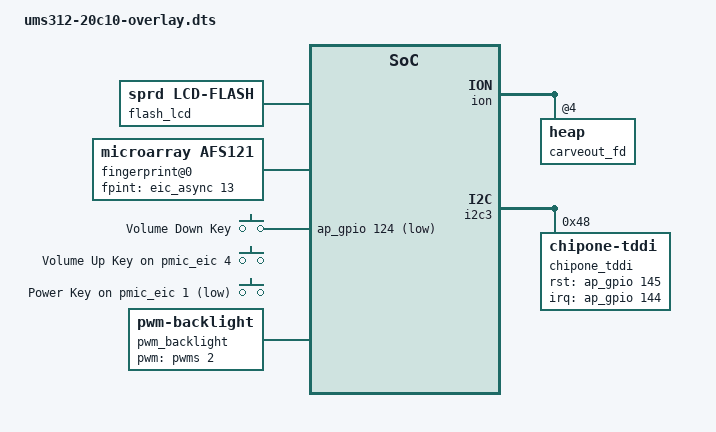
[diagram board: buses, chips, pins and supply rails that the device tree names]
/dts-v1/;
/plugin/;

#include <dt-bindings/input/input.h>
#include <dt-bindings/gpio/gpio.h>

/ {
	fragment {
		target-path = "/";
		__overlay__ {
			flash_lcd: flash-lcd {
				compatible = "sprd,lcd-flash";
				sprd,dpu = <&dpu>;
				sprd,backlight = <&pwm_backlight>;
				status = "okay";
			};

			fingerprint@0 {
				compatible = "microarray,afs121";
				fpint-gpios = <&eic_async 13 0>;
			};

			gpio-keys {
				compatible = "gpio-keys";

				key-volumedown {
					label = "Volume Down Key";
					linux,code = <KEY_VOLUMEDOWN>;
					gpios = <&ap_gpio 124 GPIO_ACTIVE_LOW>;
					debounce-interval = <2>;
					wakeup-source;
				};

				key-volumeup {
					label = "Volume Up Key";
					linux,code = <KEY_VOLUMEUP>;
					gpios = <&pmic_eic 4 GPIO_ACTIVE_HIGH>;
					debounce-interval = <2>;
					wakeup-source;
				};

				key-power {
					label = "Power Key";
					linux,code = <KEY_POWER>;
					gpios = <&pmic_eic 1 GPIO_ACTIVE_LOW>;
					debounce-interval = <2>;
					wakeup-source;
				};
			};

			pwm_backlight: sprd_backlight {
				compatible = "pwm-backlight";
				pwms = <&pwms 2 30000>;
				pwm-names = "backlight";
				brightness-levels = <
						  2   2   2   2   2   2   2   2
					  2   2   2   3   3   4   5   6   6   7
					  8   9   9  10  11  12  12  13  14  14
					 15  16  17  17  18  19  20  20  21  22
					 23  23  24  25  26  26  27  28  28  29
					 30  31  31  32  33  34  34  35  36  37
					 37  38  39  39  40  41  42  42  43  44
					 45  45  46  47  48  48  49  50  50  51
					 52  53  53  54  55  56  56  57  58  59
					 59  60  61  62  62  63  64  64  65  66
					 67  67  68  69  70  70  71  72  73  73
					 74  75  75  76  77  78  78  79  80  81
					 81  82  83  84  84  85  86  86  87  88
					 89  89  90  91  92  92  93  94  95  95
					 96  97  98  98  99 100 100 101 102 103
					103 104 105 106 106 107 108 109 109 110
					111 111 112 113 114 114 115 116 117 117
					118 119 120 120 121 122 122 123 124 125
					125 126 127 128 128 129 130 131 131 132
					133 134 134 135 136 136 137 138 139 139
					140 141 142 142 143 144 145 145 146 147
					147 148 149 150 150 151 152 153 153 154
					155 156 156 157 158 158 159 160 161 161
					162 163 164 164 165 166 167 167 168 169
					170 170 171 172 172 173 174 175 175 176
					177 178 178 179 180 181 181 182
					>;
				default-brightness-level = <41>;
			};
		};
	};
};

&reserved_memory {

	fd_reserved: face-mem@fd1c0000{
		reg = <0x0 0xfd1c0000 0x0 0x01e00000>;
	};
};

&ion {
	heap@4 {
		reg = <4>;
		label = "carveout_fd";
		type = <2>;
		memory-region = <&fd_reserved>;
	};
};

&i2c3 {
	status = "okay";

	adaptive-touchscreen@38 {
		status = "disabled";
		compatible = "adaptive-touchscreen";
		reg = <0x38>;
		gpios = <&ap_gpio 145 GPIO_ACTIVE_HIGH
			&ap_gpio 144 GPIO_ACTIVE_HIGH>;
		controller = "focaltech,FT5436";
		virtualkeys = <580 60 1320 60 45
				172 360 1320 60 45
				158 600 1320 60 45>;
		private-data {
			a8 = /bits/ 8 <0x5a>;
		};
	};

	chipone_tddi@48 {
		compatible = "chipone-tddi";
		reg = <0x48>;
		chipone,rst-gpio = <&ap_gpio 145 GPIO_ACTIVE_HIGH>;
		chipone,irq-gpio = <&ap_gpio 144 GPIO_ACTIVE_HIGH>;
		chipone,x-res = <720>;
		chipone,y-res = <1520>;
	};
};

&panel {
	sprd,backlight = <&pwm_backlight>;
};

&ddr_dfs {
	sprd-scene = "boost", "lcdon", "lcdoff", "camlow",
		"camhigh", "camveryhigh";
	sprd-freq = <933 512 256 384 512 933 384>;
};
